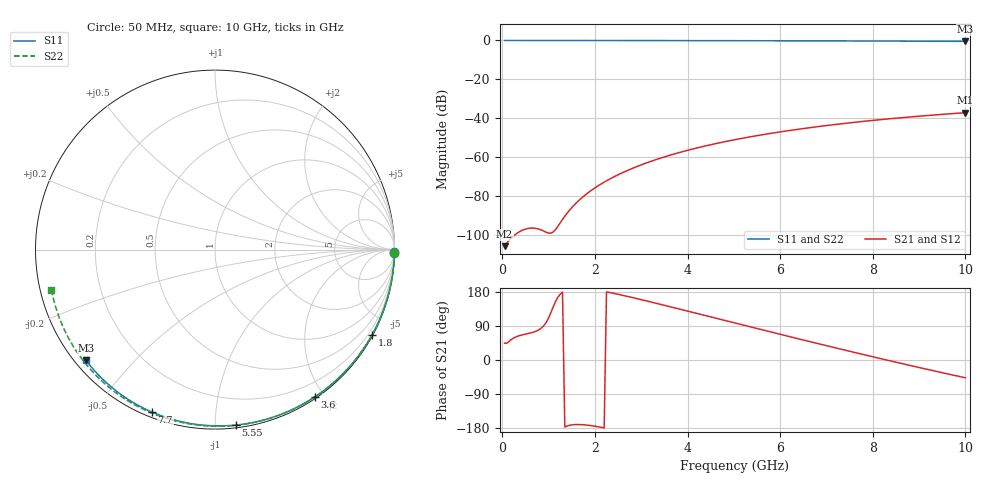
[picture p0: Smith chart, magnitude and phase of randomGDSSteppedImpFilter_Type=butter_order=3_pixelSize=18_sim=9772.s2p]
! freq	dB(S11)	phase(S11)	dB(S12)	phase(S12)
!  dB(S21)	phase(S21)	dB(S22)	phase(S22)
!S-par simulation data
#  GHz  S  DB  R 50
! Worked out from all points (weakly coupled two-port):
!   200 points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, 50 MHz to 10 GHz, reference 50 ohm
!   highest |S21| = -37.03 dB at 10 GHz (marker M1); lowest = -105.5 dB at 50 MHz (marker M2)
!   lowest |S11| = -0.5 dB at 10 GHz (marker M3), VSWR 36.73, Z = 1.55 - j18.5 ohm
!   |S11| at or under -10 dB: nowhere
!   |S22| runs from -0.6 to 0.0 dB; largest |S21 - S12| = 0
!   S11 on the Smith chart (normalised r, x): 50 MHz: open; 1.8 GHz: 0.03, -3.92; 3.6 GHz: 0.02, -1.89; 5.55 GHz: 0.02, -1.12; 7.7 GHz: 0.02, -0.68; 10 GHz: 0.03, -0.37
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0.05  -0.00 -0.8  -105.48 44.5  -105.48 44.5  -0.00 -1.0
0.45  -0.01 -7.3  -97.14 66.9  -97.14 66.9  -0.01 -8.7
0.85  -0.02 -13.6  -97.25 84.9  -97.25 84.9  -0.02 -16.3
1.3  -0.03 -20.8  -91.78 179.1  -91.78 179.1  -0.03 -24.7
1.75  -0.04 -27.8  -80.02 -170.9  -80.02 -170.9  -0.04 -33.1
1.8  -0.04 -28.6  -79.05 -171.4  -79.05 -171.4  -0.04 -34.0
1.95  -0.04 -30.9  -76.41 -173.8  -76.41 -173.8  -0.05 -36.8
2.1  -0.04 -33.2  -74.06 -176.8  -74.06 -176.8  -0.05 -39.6
2.3  -0.05 -36.3  -71.31 178.6  -71.31 178.6  -0.05 -43.2
2.5  -0.05 -39.4  -68.87 173.4  -68.87 173.4  -0.06 -46.8
2.9  -0.06 -45.5  -64.71 162.2  -64.71 162.2  -0.07 -54.0
3.4  -0.07 -52.9  -60.46 147.4  -60.46 147.4  -0.08 -62.7
3.6  -0.08 -55.8  -58.99 141.3  -58.99 141.3  -0.09 -66.2
4.3  -0.09 -66.0  -54.56 119.8  -54.56 119.8  -0.11 -78.0
5.05  -0.12 -76.5  -50.75 96.8  -50.75 96.8  -0.14 -90.3
5.55  -0.14 -83.3  -48.60 81.5  -48.60 81.5  -0.16 -98.3
6.1  -0.16 -90.7  -46.52 64.8  -46.52 64.8  -0.19 -106.9
6.7  -0.19 -98.5  -44.53 46.7  -44.53 46.7  -0.23 -116.1
7.7  -0.25 -111.2  -41.72 17.2  -41.72 17.2  -0.30 -131.2
8.35  -0.31 -119.3  -40.19 -1.5  -40.19 -1.5  -0.36 -140.9
9.2  -0.38 -129.7  -38.45 -25.3  -38.45 -25.3  -0.45 -153.8
10  -0.47 -139.4  -37.03 -46.9  -37.03 -46.9  -0.56 -166.2
